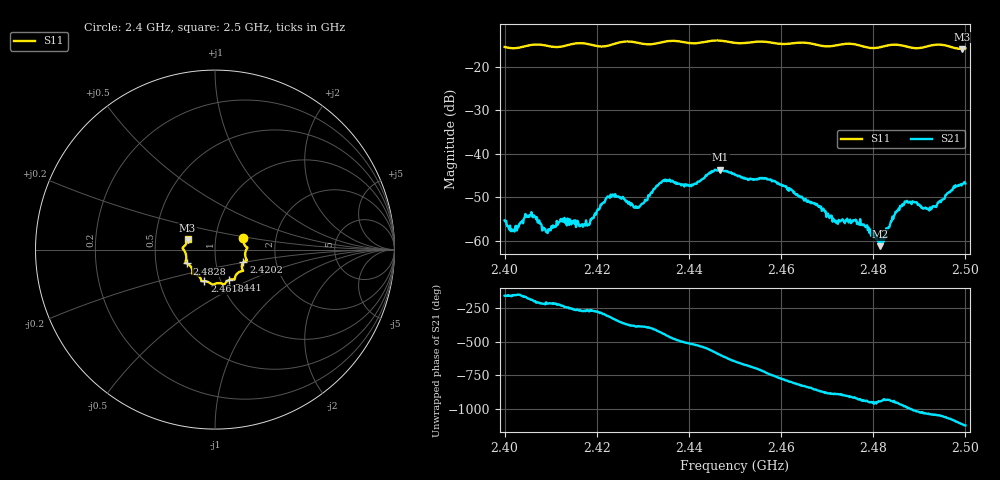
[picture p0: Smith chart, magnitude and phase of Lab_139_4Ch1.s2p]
# Hz S RI R 50
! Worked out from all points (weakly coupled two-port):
!   601 points, 2.4 GHz to 2.5 GHz, reference 50 ohm
!   highest |S21| = -43.63 dB at 2.4468 GHz (marker M1); lowest = -61.3 dB at 2.4815 GHz (marker M2)
!   lowest |S11| = -15.8 dB at 2.4993 GHz (marker M3), VSWR 1.38, Z = 36.6 + j3.86 ohm
!   |S11| at or under -10 dB: start of sweep to end of sweep
!   S12 and S22 are empty: the file has one direction only
!   S11 on the Smith chart (normalised r, x): 2.4 GHz: 1.36, +0.18; 2.4202 GHz: 1.36, -0.20; 2.441 GHz: 1.10, -0.39; 2.4618 GHz: 0.84, -0.30; 2.4828 GHz: 0.72, -0.12; 2.5 GHz: 0.73, +0.09
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2.4e9  0.1574 0.063  -0.00162 -0.000546  0 0  0 0
2.401833e9  0.159 0.0407  -0.00124 -0.000457  0 0  0 0
2.405333e9  0.177 0.0133  -0.00187 0.000124  0 0  0 0
2.409167e9  0.1752 0.00125  -0.001 0.000756  0 0  0 0
2.4125e9  0.1684 -0.0343  -0.000939 0.00137  0 0  0 0
2.416667e9  0.1778 -0.06  5.28e-05 0.00153  0 0  0 0
2.420167e9  0.1581 -0.0708  0.000301 0.00225  0 0  0 0
2.4235e9  0.1505 -0.1024  0.00296 0.00165  0 0  0 0
2.429167e9  0.1442 -0.1208  0.00214 -0.00109  0 0  0 0
2.433333e9  0.1121 -0.1513  0.00191 -0.00394  0 0  0 0
2.441e9  0.0787 -0.1695  -0.00416 -0.00145  0 0  0 0
2.446833e9  0.0491 -0.1946  -0.00338 0.00565  0 0  0 0
2.45e9  0.0285 -0.187  0.00166 0.00546  0 0  0 0
2.461833e9  -0.0593 -0.1758  0.000844 -0.00392  0 0  0 0
2.466667e9  -0.0778 -0.168  -0.00162 -0.00222  0 0  0 0
2.4815e9  -0.147 -0.0829  -0.000642 0.000576  0 0  0 0
2.482833e9  -0.1575 -0.0774  -0.0012 0.000696  0 0  0 0
2.483333e9  -0.1605 -0.0761  -0.00122 0.00074  0 0  0 0
2.486833e9  -0.1624 -0.0618  -0.00063 0.00275  0 0  0 0
2.492167e9  -0.1748 -0.000712  0.00165 0.00149  0 0  0 0
2.499333e9  -0.153 0.0514  0.00377 -0.0024  0 0  0 0
2.5e9  -0.1517 0.0609  0.00344 -0.00295  0 0  0 0
